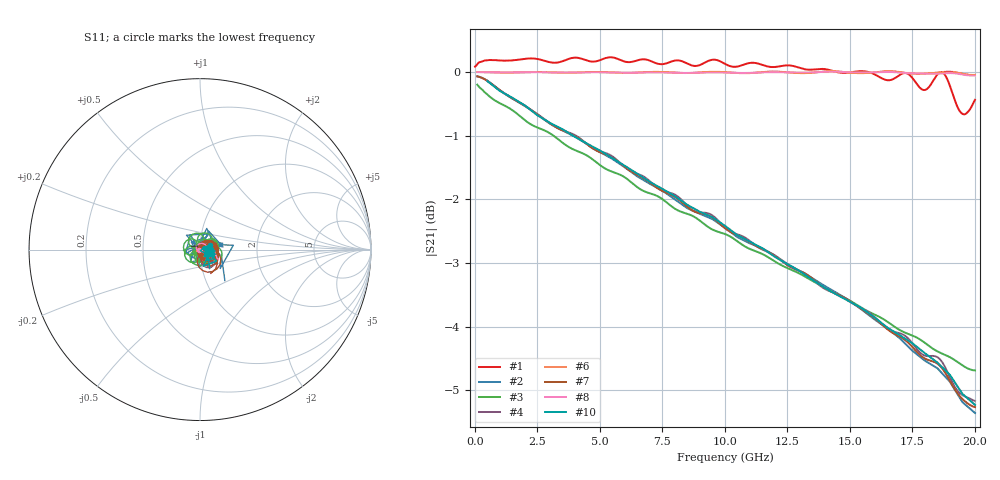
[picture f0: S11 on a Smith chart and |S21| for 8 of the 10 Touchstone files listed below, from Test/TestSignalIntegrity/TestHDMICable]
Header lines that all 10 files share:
# MHz S MA R 50.0
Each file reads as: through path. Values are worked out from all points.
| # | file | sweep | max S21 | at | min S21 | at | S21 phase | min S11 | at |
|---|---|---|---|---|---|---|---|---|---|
| 1 | HDMIDeembeddingStructureEvaluation_U1.s2p | 10 MHz to 20 GHz | 0.24 dB | 5.42 GHz | -0.7 dB | 19.56 GHz | 1 deg at 10.01 GHz | -49.5 dB | 4.21 GHz |
| 2 | HDMIThru.s2p | 500 MHz to 20 GHz | -0.13 dB | 500 MHz | -5.4 dB | 20 GHz | 130 deg at 10.5 GHz | -36.7 dB | 6 GHz |
| 3 | HDMIThruDeembeddingStructure.s2p | 100 MHz to 20 GHz | -0.20 dB | 100 MHz | -4.7 dB | 20 GHz | 14 deg at 10.1 GHz | -46.7 dB | 1.5 GHz |
| 4 | HDMIThruMiddle.s2p | 100 MHz to 20 GHz | -0.06 dB | 100 MHz | -5.2 dB | 20 GHz | -163 deg at 10.1 GHz | -45.8 dB | 3 GHz |
| 5 | HDMIThruMiddleModel.s2p | 10 MHz to 20 GHz | -0.13 dB | 10 MHz | -4.7 dB | 20 GHz | -153 deg at 10.01 GHz | -48.0 dB | 10 MHz |
| 6 | HDMIThruPort1_U1.s2p | 100 MHz to 20 GHz | 0.02 dB | 14.3 GHz | 0.0 dB | 19.9 GHz | 178 deg at 10.1 GHz | -38.8 dB | 100 MHz |
| 7 | HDMIThruPort1Peeled.s2p | 100 MHz to 20 GHz | -0.07 dB | 100 MHz | -5.3 dB | 20 GHz | 15 deg at 10.1 GHz | -48.6 dB | 4.5 GHz |
| 8 | HDMIThruPort2_U1.s2p | 100 MHz to 20 GHz | 0.01 dB | 14.2 GHz | -0.1 dB | 20 GHz | 178 deg at 10.1 GHz | -44.9 dB | 100 MHz |
| 9 | HDMIThruPort2Peeled.s2p | 100 MHz to 20 GHz | -0.07 dB | 100 MHz | -5.2 dB | 20 GHz | 15 deg at 10.1 GHz | -44.8 dB | 14.6 GHz |
| 10 | HDMIThruPortsPeeled.s2p | 500 MHz to 20 GHz | -0.14 dB | 500 MHz | -5.2 dB | 20 GHz | 148 deg at 10.5 GHz | -44.7 dB | 3 GHz |
